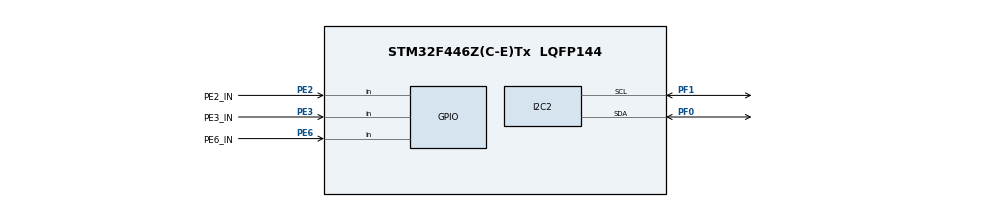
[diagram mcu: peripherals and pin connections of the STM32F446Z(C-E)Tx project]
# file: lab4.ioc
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Mcu.Family=STM32F4
Mcu.Name=STM32F446Z(C-E)Tx
Mcu.Package=LQFP144
NVIC.PriorityGroup=NVIC_PRIORITYGROUP_4
PE2.GPIO_Label=PE2_IN
PE2.GPIO_PuPd=GPIO_PULLDOWN
PE2.Signal=GPIO_Input
PE3.GPIO_Label=PE3_IN
PE3.GPIO_PuPd=GPIO_PULLDOWN
PE3.Signal=GPIO_Input
PE6.GPIO_Label=PE6_IN
PE6.GPIO_PuPd=GPIO_PULLDOWN
PE6.Signal=GPIO_Input
PF0.Mode=I2C
PF0.Signal=I2C2_SDA
PF1.Mode=I2C
PF1.Signal=I2C2_SCL
ProjectManager.HeapSize=0x200
ProjectManager.StackSize=0x400
ProjectManager.TargetToolchain=STM32CubeIDE
RCC.CortexFreq_Value=16000000
RCC.USBFreq_Value=96000000
RCC.VCOOutputFreq_Value=192000000
board=custom

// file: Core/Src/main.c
/* USER CODE BEGIN Header */
/**
  ******************************************************************************
  * @file           : main.c
  * @brief          : Main program body
  ******************************************************************************
  * @attention
  *
  * Copyright (c) 2026 STMicroelectronics.
  * All rights reserved.
  *
  * This software is licensed under terms that can be found in the LICENSE file
  * in the root directory of this software component.
  * If no LICENSE file comes with this software, it is provided AS-IS.
  *
  ******************************************************************************
  */
/* USER CODE END Header */
#include "main.h"
#include "OLED.h"
#include <stdlib.h>

typedef enum
{
    OLED_STATE_LABOR = 0x00,        // cimke
    OLED_STATE_SMILEY = 0x01       // smiley
} OLED_Test_state;

I2C_HandleTypeDef hi2c2;

/* USER CODE BEGIN PV */
OLED_Test_state test_state = OLED_STATE_LABOR;

GPIO_PinState previous_button_state[3] = {GPIO_PIN_SET, GPIO_PIN_SET, GPIO_PIN_SET};
GPIO_PinState current_button_state[3] = {GPIO_PIN_SET, GPIO_PIN_SET, GPIO_PIN_SET};

/* USER CODE END PV */

void SystemClock_Config(void);
static void MX_GPIO_Init(void);
static void MX_I2C2_Init(void);

/* USER CODE BEGIN 0 */

void OLED_TestLabor(void)
{
    OLED_SetCursor(25, 12);
    OLED_WriteString("Labor 4", Font_11x18, WHITE);

    OLED_SetCursor(18, 38);
    OLED_WriteString("Veress Robert", Font_7x10, WHITE);

    return;
}

void OLED_TestSmiley(void)
{
    // Fej
    OLED_DrawCircle(63, 31, 28, WHITE);

    // Bal szem
    OLED_DrawCircle(50, 22, 4, WHITE);

    // Jobb szem
    OLED_DrawCircle(76, 22, 4, WHITE);

    // Mosoly
    OLED_DrawArc(63, 30, 18, 300, 360, WHITE);
    OLED_DrawArc(63, 30, 18, 0, 60, WHITE);

    return;
}

/* USER CODE END 0 */

int main(void)
{

  /* MCU Configuration--------------------------------------------------------*/

  /* Reset of all peripherals, Initializes the Flash interface and the Systick. */
  HAL_Init();

  /* Configure the system clock */
  SystemClock_Config();

  /* Initialize all configured peripherals */
  MX_GPIO_Init();
  MX_I2C2_Init();

  /* Infinite loop */
  while (1)
  {
	// Button handling - read the button states
	current_button_state[0] = HAL_GPIO_ReadPin(PE2_IN_GPIO_Port, PE2_IN_Pin);
	current_button_state[1] = HAL_GPIO_ReadPin(PE3_IN_GPIO_Port, PE3_IN_Pin);
	current_button_state[2] = HAL_GPIO_ReadPin(PE6_IN_GPIO_Port, PE6_IN_Pin);
	// Bal
	if ((current_button_state[0] != previous_button_state[0]) && (GPIO_PIN_RESET == current_button_state[0]))
	{
		if (OLED_STATE_LABOR == test_state)
		{
			test_state = OLED_STATE_SMILEY;
		}
		else
		{
			test_state = OLED_STATE_LABOR;
		}

		OLED_Fill(BLACK);
		OLED_UpdateScreen();
	}

	// Jobb
	if ((current_button_state[2] != previous_button_state[2]) && (GPIO_PIN_RESET == current_button_state[2]))
	{
		if (OLED_STATE_SMILEY == test_state)
		{
			test_state = OLED_STATE_LABOR;
		}
		else
		{
			test_state = OLED_STATE_SMILEY;
		}

		OLED_Fill(BLACK);
		OLED_UpdateScreen();
	}

	// Invert
	if ((current_button_state[1] != previous_button_state[1]) && (GPIO_PIN_RESET == current_button_state[1]))
	{
		if (OFF == OLED_GetDisplayInverse())
		{
			OLED_SetDisplayInverse(ON);
		}
		else
		{
			OLED_SetDisplayInverse(OFF);
		}
	}

	previous_button_state[0] = current_button_state[0];
	previous_button_state[1] = current_button_state[1];
	previous_button_state[2] = current_button_state[2];

	switch (test_state)
	{
	case OLED_STATE_SMILEY:
		OLED_TestSmiley();
		break;
	case OLED_STATE_LABOR:
	default:
		OLED_TestLabor();
		break;
	}

	OLED_UpdateScreen();
	HAL_Delay(50);
  }
}

void SystemClock_Config(void)
{
  RCC_OscInitTypeDef RCC_OscInitStruct = {0};
  RCC_ClkInitTypeDef RCC_ClkInitStruct = {0};

  /** Configure the main internal regulator output voltage
  */
  __HAL_RCC_PWR_CLK_ENABLE();
  __HAL_PWR_VOLTAGESCALING_CONFIG(PWR_REGULATOR_VOLTAGE_SCALE3);

  /** Initializes the RCC Oscillators according to the specified parameters
  * in the RCC_OscInitTypeDef structure.
  */
  RCC_OscInitStruct.OscillatorType = RCC_OSCILLATORTYPE_HSI;
  RCC_OscInitStruct.HSIState = RCC_HSI_ON;
  RCC_OscInitStruct.HSICalibrationValue = RCC_HSICALIBRATION_DEFAULT;
  RCC_OscInitStruct.PLL.PLLState = RCC_PLL_NONE;
  if (HAL_RCC_OscConfig(&RCC_OscInitStruct) != HAL_OK)
  {
    Error_Handler();
  }

  /** Initializes the CPU, AHB and APB buses clocks
  */
  RCC_ClkInitStruct.ClockType = RCC_CLOCKTYPE_HCLK|RCC_CLOCKTYPE_SYSCLK
                              |RCC_CLOCKTYPE_PCLK1|RCC_CLOCKTYPE_PCLK2;
  RCC_ClkInitStruct.SYSCLKSource = RCC_SYSCLKSOURCE_HSI;
  RCC_ClkInitStruct.AHBCLKDivider = RCC_SYSCLK_DIV1;
  RCC_ClkInitStruct.APB1CLKDivider = RCC_HCLK_DIV1;
  RCC_ClkInitStruct.APB2CLKDivider = RCC_HCLK_DIV1;

  if (HAL_RCC_ClockConfig(&RCC_ClkInitStruct, FLASH_LATENCY_0) != HAL_OK)
  {
    Error_Handler();
  }
}

static void MX_I2C2_Init(void)
{

  hi2c2.Instance = I2C2;
  hi2c2.Init.ClockSpeed = 100000;
  hi2c2.Init.DutyCycle = I2C_DUTYCYCLE_2;
  hi2c2.Init.OwnAddress1 = 0;
  hi2c2.Init.AddressingMode = I2C_ADDRESSINGMODE_7BIT;
  hi2c2.Init.DualAddressMode = I2C_DUALADDRESS_DISABLE;
  hi2c2.Init.OwnAddress2 = 0;
  hi2c2.Init.GeneralCallMode = I2C_GENERALCALL_DISABLE;
  hi2c2.Init.NoStretchMode = I2C_NOSTRETCH_DISABLE;
  if (HAL_I2C_Init(&hi2c2) != HAL_OK)
  {
    Error_Handler();
  }

}

static void MX_GPIO_Init(void)
{
  GPIO_InitTypeDef GPIO_InitStruct = {0};

  /* GPIO Ports Clock Enable */
  __HAL_RCC_GPIOE_CLK_ENABLE();
  __HAL_RCC_GPIOF_CLK_ENABLE();

  /*Configure GPIO pins : PE2_IN_Pin PE3_IN_Pin PE6_IN_Pin */
  GPIO_InitStruct.Pin = PE2_IN_Pin|PE3_IN_Pin|PE6_IN_Pin;
  GPIO_InitStruct.Mode = GPIO_MODE_INPUT;
  GPIO_InitStruct.Pull = GPIO_PULLDOWN;
  HAL_GPIO_Init(GPIOE, &GPIO_InitStruct);

}

void Error_Handler(void)
{
  __disable_irq();
  while (1)
  {
  }
}
